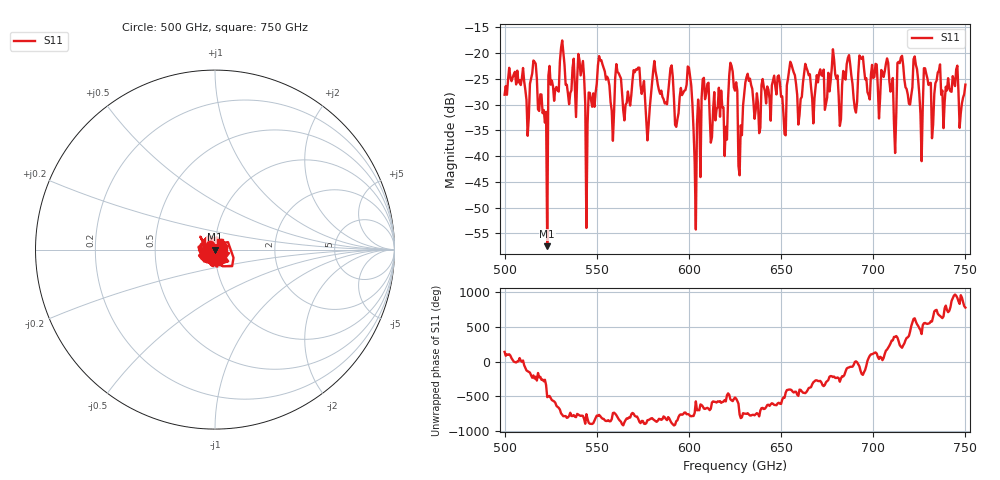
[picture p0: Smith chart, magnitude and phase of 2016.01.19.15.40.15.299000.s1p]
!Created with skrf (http://scikit-rf.org).
# GHz S RI R 50.0
!freq ReS11 ImS11
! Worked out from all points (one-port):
!   401 points, 500 GHz to 750 GHz, reference 50 ohm
!   lowest |S11| = -57.5 dB at 523.1 GHz (marker M1), VSWR 1.00, Z = 49.9 - j0.065 ohm
!   |S11| at or under -10 dB: start of sweep to end of sweep
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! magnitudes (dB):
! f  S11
! 500 GHz  -28.1
! 516.2 GHz  -21.7
! 523.1 GHz  -57.5
! 531.2 GHz  -17.5
! 535 GHz  -29.9
! 541.2 GHz  -24.3
! 545 GHz  -33.7
! 551.9 GHz  -21.4
! 558.1 GHz  -31.2
! 562.5 GHz  -24.4
! 571.9 GHz  -23.2
! 577.5 GHz  -36.9
! 581.2 GHz  -21.5
! 590 GHz  -22.9
! 593.8 GHz  -32.9
! 600 GHz  -22.8
! 605 GHz  -29.0
! 608.8 GHz  -28.9
! 619.4 GHz  -40.0
! 625 GHz  -27.3
! 628.1 GHz  -34.0
! 631.9 GHz  -24.0
! 651.2 GHz  -31.6
! 656.2 GHz  -23.0
! 660 GHz  -32.0
! 687.5 GHz  -22.2
! 718.8 GHz  -28.0
! 750 GHz  -26.1
